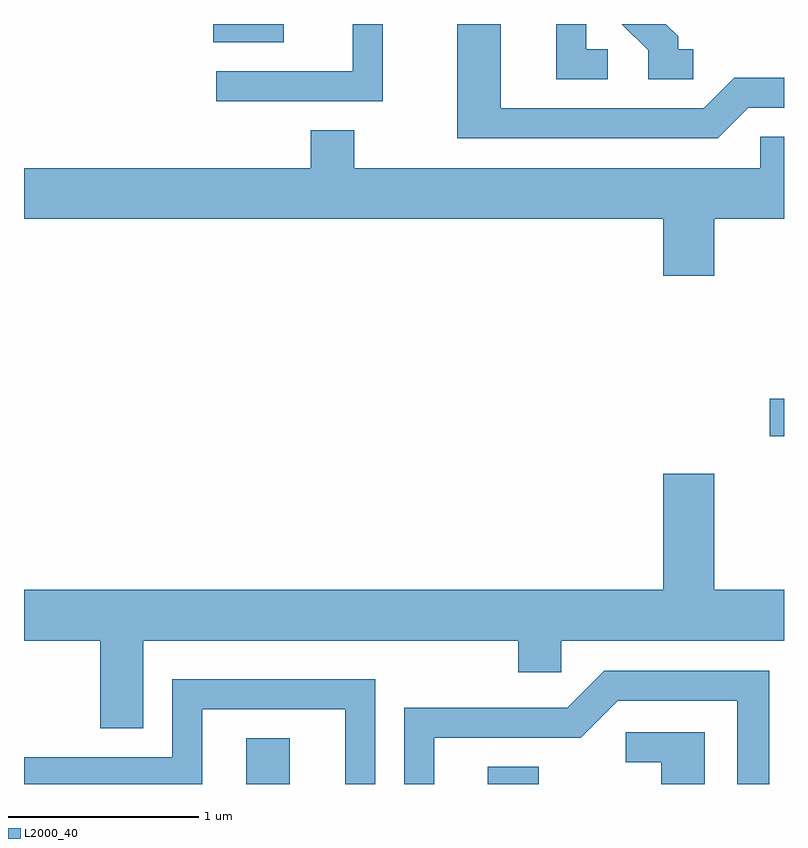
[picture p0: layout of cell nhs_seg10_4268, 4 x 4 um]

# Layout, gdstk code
import gdstk
lib = gdstk.Library(unit=1e-6, precision=1e-09)
def R(c, l, rs):  # rectangles x0, y0, x1, y1
    for r in rs: c.add(gdstk.rectangle(r[:2], r[2:], *l))
def P(c, l, *ps):  # polygons
    for p in ps: c.add(gdstk.Polygon(p, *l))
L2000_40 = (2000, 40)

nhs_seg10_4268 = lib.new_cell('nhs_seg10_4268')
R(nhs_seg10_4268, L2000_40, [(312.781,2086.522,313.009,2086.764), (314.051,2086.522,314.319,2086.614), (315.536,2088.351,315.611,2088.549), (312.606,2090.426,312.979,2090.522)])
P(nhs_seg10_4268, L2000_40, [(315.422,2090.081),(315.611,2090.081),(315.611,2090.239),(315.349,2090.239),(315.189,2090.079),(314.119,2090.079),(314.119,2090.522),(313.891,2090.522),(313.891,2089.921),(315.262,2089.921)],
  [(313.499,2090.522),(313.341,2090.522),(313.341,2090.274),(312.623,2090.274),(312.623,2090.116),(313.499,2090.116)],
  [(314.683,2090.389),(314.569,2090.389),(314.569,2090.522),(314.411,2090.522),(314.411,2090.231),(314.683,2090.231)],
  [(315.133,2090.389),(315.054,2090.389),(315.054,2090.457),(314.989,2090.522),(314.758,2090.522),(314.896,2090.384),(314.896,2090.231),(315.133,2090.231)],
  [(315.244,2089.496),(315.611,2089.496),(315.611,2089.929),(315.486,2089.929),(315.486,2089.764),(313.349,2089.764),(313.349,2089.964),(313.121,2089.964),(313.121,2089.764),(311.611,2089.764),(311.611,2089.496),(314.976,2089.496),(314.976,2089.196),(315.244,2089.196)],
  [(312.239,2087.276),(314.211,2087.276),(314.211,2087.111),(314.439,2087.111),(314.439,2087.276),(315.611,2087.276),(315.611,2087.544),(315.244,2087.544),(315.244,2088.154),(314.976,2088.154),(314.976,2087.544),(311.611,2087.544),(311.611,2087.276),(312.011,2087.276),(312.011,2086.816),(312.239,2086.816)],
  [(313.769,2086.766),(314.542,2086.766),(314.737,2086.961),(315.366,2086.961),(315.366,2086.522),(315.534,2086.522),(315.534,2087.119),(314.664,2087.119),(314.469,2086.924),(313.611,2086.924),(313.611,2086.522),(313.769,2086.522)],
  [(312.549,2086.916),(313.301,2086.916),(313.301,2086.522),(313.459,2086.522),(313.459,2087.074),(312.391,2087.074),(312.391,2086.664),(311.611,2086.664),(311.611,2086.522),(312.549,2086.522)],
  [(315.194,2086.794),(314.778,2086.794),(314.778,2086.636),(314.966,2086.636),(314.966,2086.522),(315.194,2086.522)])

lib.write_gds('nhs_seg10_4268.gds')
